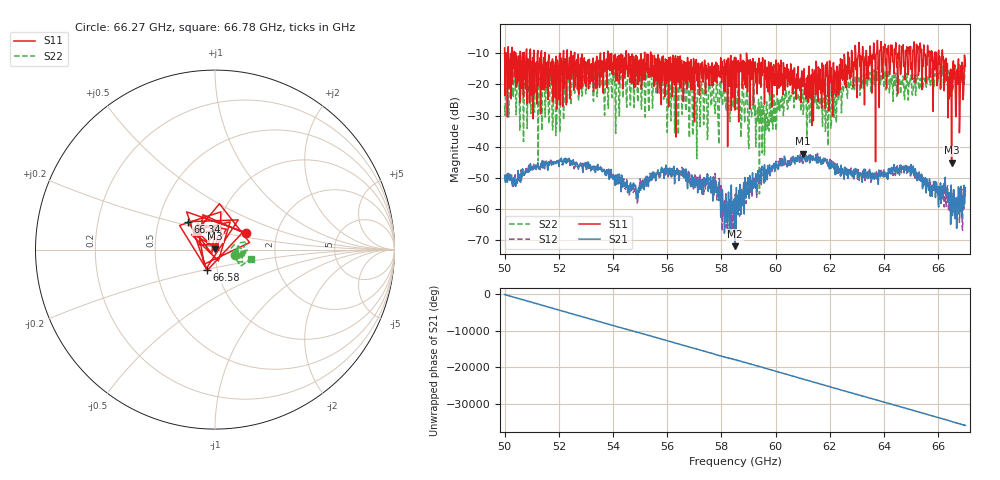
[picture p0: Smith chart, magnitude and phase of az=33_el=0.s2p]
!Created with skrf (http://scikit-rf.org).
# GHz S RI R 50.0
!freq ReS11 ImS11 ReS21 ImS21 ReS12 ImS12 ReS22 ImS22
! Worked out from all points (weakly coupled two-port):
!   1001 points, 50 GHz to 67 GHz, reference 50 ohm
!   highest |S21| = -42.22 dB at 61.02 GHz (marker M1); lowest = -71.9 dB at 58.5 GHz (marker M2)
!   lowest |S11| = -45.1 dB at 66.49 GHz (marker M3), VSWR 1.01, Z = 50.1 + j0.543 ohm
!   |S11| at or under -10 dB: 52.58 GHz to 53.54 GHz (950.9 MHz wide, 1.79 % of centre); 55.39 GHz to 58.92 GHz (3.534 GHz wide, 6.18 % of centre); 58.93 GHz to 62.66 GHz (3.739 GHz wide, 6.15 % of centre) (the widest 3 of 63)
!   |S22| runs from -55.1 to -13.4 dB; largest |S21 - S12| = 0.0024
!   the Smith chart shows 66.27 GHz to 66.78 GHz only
!   S11 on the Smith chart (normalised r, x): 66.27 GHz: 1.39, +0.27; 66.34 GHz: 0.70, +0.23; 66.58 GHz: 0.89, -0.21; 66.78 GHz: 0.99, +0.03
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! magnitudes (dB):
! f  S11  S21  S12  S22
! 50 GHz  -8.3  -49.1  -49.7  -26.9
! 50.29 GHz  -19.9  -52.4  -50.9  -23.5
! 51.84 GHz  -18.0  -45.2  -44.9  -16.7
! 52.84 GHz  -12.4  -45.9  -45.9  -21.0
! 54.83 GHz  -20.8  -52.5  -52.4  -17.2
! 55.68 GHz  -13.4  -48.3  -47.9  -17.4
! 56.7 GHz  -12.9  -47.1  -48.3  -28.2
! 57.02 GHz  -13.1  -50.5  -48.5  -19.4
! 57.62 GHz  -15.1  -54.8  -53.4  -26.7
! 58.26 GHz  -11.7  -54.5  -58.9  -22.2
! 58.5 GHz  -28.2  -71.9  -55.8  -19.7
! 59.13 GHz  -18.3  -54.1  -56.1  -28.8
! 59.35 GHz  -16.1  -47.6  -49.9  -32.1
! 61.02 GHz  -20.6  -42.2  -43.6  -29.6
! 61.34 GHz  -33.1  -43.0  -43.4  -25.7
! 64.18 GHz  -12.1  -47.7  -48.4  -18.1
! 66.27 GHz  -14.0  -53.5  -55.6  -18.7
! 66.34 GHz  -13.2  -54.9  -52.5  -16.5
! 66.49 GHz  -45.1  -55.0  -55.7  -15.4
! 66.58 GHz  -18.2  -53.8  -56.3  -15.0
! 66.78 GHz  -35.5  -61.6  -64.3  -13.6
! 67 GHz  -14.1  -53.0  -54.1  -13.4
